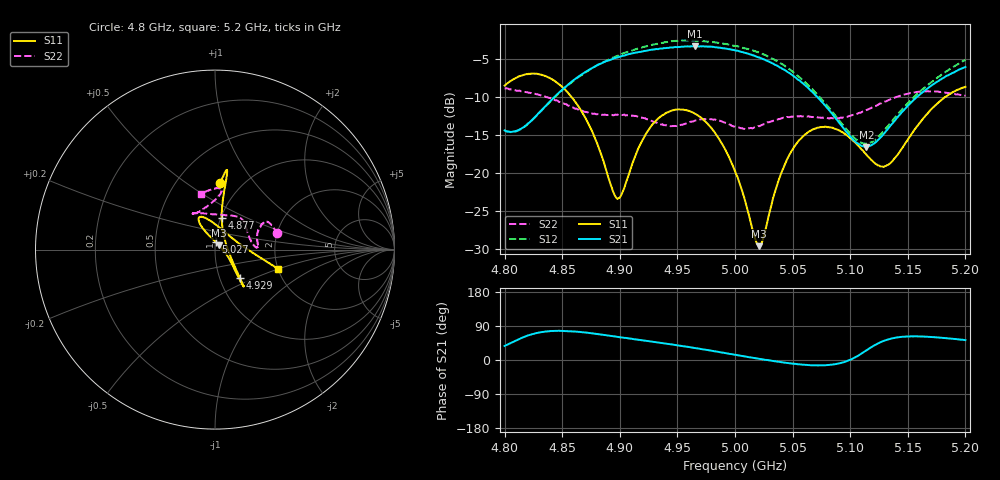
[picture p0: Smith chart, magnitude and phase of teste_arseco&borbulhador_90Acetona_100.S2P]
! Network Analyzer HP8722D
! Hewlett-Packard
! Data name: Linha & Wilkinson
! Saver's name: Rodrigo Anjos
! Comments: Teste da utilização de aquisição
! continua pelo VNA HP8722D
! Time and date: 17/4/2025 11:53
!  Frequency  S11  S21  S12  S22
# HZ  S  MA R 50
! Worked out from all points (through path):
!   401 points, 4.8 GHz to 5.2 GHz, reference 50 ohm
!   highest |S21| = -3.38 dB at 4.965 GHz (marker M1); lowest = -16.6 dB at 5.114 GHz (marker M2)
!   lowest |S11| = -29.6 dB at 5.021 GHz (marker M3), VSWR 1.07, Z = 52.4 + j2.44 ohm
!   |S11| at or under -10 dB: 4.858 GHz to 5.183 GHz (325 MHz wide, 6.47 % of centre)
!   |S22| runs from -14.2 to -8.9 dB; largest |S21 - S12| = 0.23
!   S11 on the Smith chart (normalised r, x): 4.8 GHz: 0.79, +0.69; 4.877 GHz: 1.01, +0.37; 4.929 GHz: 1.25, -0.41; 5.027 GHz: 1.00, +0.09; 5.2 GHz: 2.00, -0.49
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4.8e9  0.374 85.7  0.1903 37.1  0.19 -2.6  0.3578 14.5
4.814e9  0.433 82.5  0.1947 57.4  0.1935 18.7  0.3437 23.4
4.834e9  0.4355 81.0  0.2675 74.4  0.2659 37.9  0.3197 29.3
4.867e9  0.2518 80.8  0.443 73.4  0.4391 43.5  0.2567 21.7
4.877e9  0.18 77.9  0.4927 69.9  0.4907 42.5  0.2438 17.1
4.894e9  0.07611 43.2  0.5592 62.8  0.5713 40.2  0.239 8.8
4.899e9  0.06848 14.1  0.5751 60.5  0.5897 39.3  0.2398 7.0
4.917e9  0.1498 -41.2  0.6217 53.0  0.6573 35.5  0.232 2.9
4.929e9  0.2107 -48.8  0.6439 48.0  0.6964 32.3  0.2167 6.2
4.934e9  0.2296 -50.2  0.6512 45.7  0.7082 30.4  0.2114 9.5
4.965e9  0.2456 -52.1  0.6778 31.6  0.7372 18.7  0.2202 41.4
4.984e9  0.1767 -47.7  0.6671 22.3  0.7162 11.5  0.2215 55.2
5e9  0.1029 -35.4  0.6366 13.8  0.6817 5.6  0.2014 71.9
5.021e9  0.03315 44.5  0.572 3.3  0.6139 -2.4  0.2024 101.6
5.027e9  0.04413 85.7  0.5469 0.2  0.5896 -4.4  0.212 107.9
5.045e9  0.122 118.7  0.4633 -7.7  0.4933 -10.7  0.2329 119.0
5.067e9  0.1922 118.5  0.3409 -13.8  0.3557 -13.4  0.2327 121.4
5.09e9  0.1908 109.5  0.216 -9.0  0.223 -4.7  0.2276 111.9
5.114e9  0.1316 83.8  0.1484 25.3  0.156 33.1  0.2583 95.3
5.134e9  0.1148 34.5  0.1997 55.2  0.2085 65.5  0.3017 85.5
5.171e9  0.2647 -10.8  0.3768 60.5  0.396 78.3  0.3434 87.7
5.2e9  0.3668 -16.9  0.4954 52.5  0.5518 76.2  0.3208 104.3
